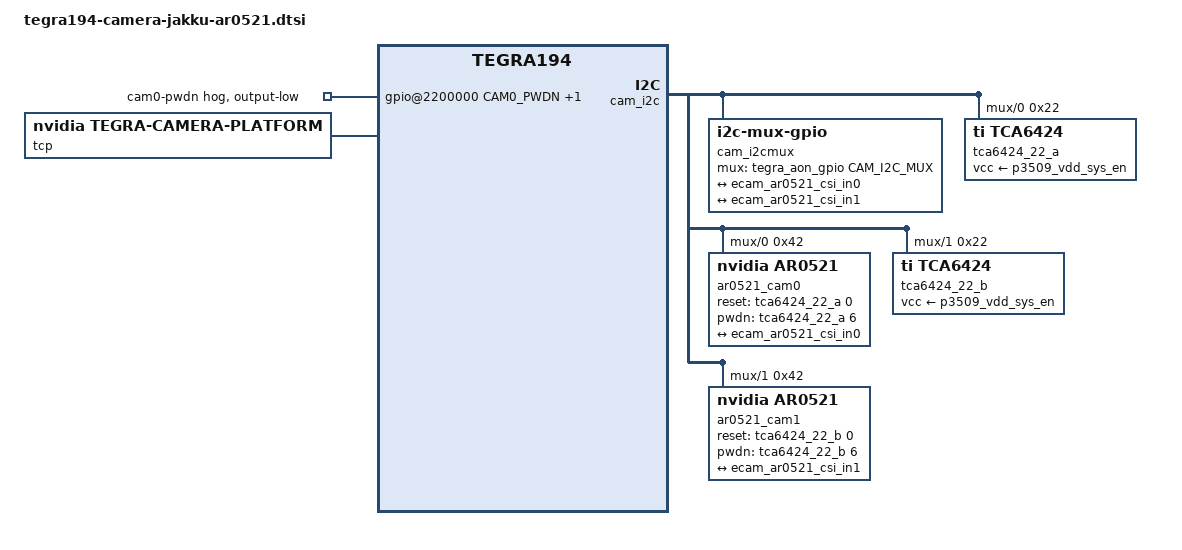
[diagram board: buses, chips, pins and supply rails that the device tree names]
/*
 * Copyright (c) 2018-2020, NVIDIA CORPORATION.  All rights reserved.
 *
 * This program is free software; you can redistribute it and/or modify
 * it under the terms of the GNU General Public License as published by
 * the Free Software Foundation; either version 2 of the License, or
 * (at your option) any later version.
 *
 * This program is distributed in the hope that it will be useful, but WITHOUT
 * ANY WARRANTY; without even the implied warranty of MERCHANTABILITY or
 * FITNESS FOR A PARTICULAR PURPOSE.  See the GNU General Public License for
 * more details.
 *
 * You should have received a copy of the GNU General Public License
 * along with this program.  If not, see <http://www.gnu.org/licenses/>.
 */

#include <dt-bindings/media/camera.h>

#define CAM0_PWDN	TEGRA194_MAIN_GPIO(P, 4)
#define CAM1_PWDN	TEGRA194_MAIN_GPIO(P, 5)
#define CAM_I2C_MUX 	TEGRA194_AON_GPIO(CC, 3)

/* Enable Six overlays in Jetson Xavier NX */
&head0 {
	win-mask = <0x3f>;
};

/ {
	cam_i2cmux{
		compatible = "i2c-mux-gpio";
		#address-cells = <1>;
		#size-cells = <0>;
		i2c-parent = <&cam_i2c>;
		mux-gpios = <&tegra_aon_gpio CAM_I2C_MUX GPIO_ACTIVE_HIGH>;
		i2c@0 {
			reg = <0>;
			#address-cells = <1>;
			#size-cells = <0>;
		tca6424_22_a: tca6424@22 {
			    compatible = "ti,tca6424";
			    gpio-controller;
			    #gpio-cells = <2>;
			    reg = <0x22>;
				vcc-supply = <&p3509_vdd_sys_en>;
			    status = "okay";
			    tca6424_22_outlow {
			    	/*
				 * GPIO-0 : RST_CAM1
				 * GPIO-1 : RST_CAM2
				 * GPIO-2 : RST_CAM3
				 * .... more is there
				 */
				 gpio-hog;
				 gpios = <0 0 1 0 2 0 3 0 4 0 5 0 6 0 7 0>;
				 output-low;
				 label = "tca6424_22_outlow_0",
				         "tca6424_22_outlow_1",
				         "tca6424_22_outlow_2",
				         "tca6424_22_outlow_3",
				         "tca6424_22_outlow_4",
				         "tca6424_22_outlow_5",
				         "tca6424_22_outlow_6",
				         "tca6424_22_outlow_7";
			    };
			    tca6424_22_outhigh {
			            status = "disabled";
			    };
			    tca6424_22_input {
			            status = "disabled";
			    };
			    
			};			
			ecam_ar0521_a@42 {
				reset-gpios = <&tca6424_22_a 0 GPIO_ACTIVE_HIGH>;
				pwdn-gpios  = <&tca6424_22_a 6 GPIO_ACTIVE_HIGH>;
			};					  
		};
		i2c@1 {
			reg = <1>;
			#address-cells = <1>;
			#size-cells = <0>;
			tca6424_22_b: tca6424@22 {
			    compatible = "ti,tca6424";
			    gpio-controller;
			    #gpio-cells = <2>;
			    reg = <0x22>;
				vcc-supply = <&p3509_vdd_sys_en>;
			    status = "okay";
			    tca6424_22_outlow {
			    	/*
				 * GPIO-0 : RST_CAM1
				 * GPIO-1 : RST_CAM2
				 * GPIO-2 : RST_CAM3
				 * .... more is there
				 */
				 gpio-hog;
				 gpios = <0 0 1 0 2 0 3 0 4 0 5 0 6 0 7 0>;
				 output-low;
				 label = "tca6424_22_outlow_0",
				         "tca6424_22_outlow_1",
				         "tca6424_22_outlow_2",
				         "tca6424_22_outlow_3",
				         "tca6424_22_outlow_4",
				         "tca6424_22_outlow_5",
				         "tca6424_22_outlow_6",
				         "tca6424_22_outlow_7";
			    };
			    tca6424_22_outhigh {
			            status = "disabled";
			    };
			    tca6424_22_input {
			            status = "disabled";
			    };
			    
			};
			ecam_ar0521_c@42 {
				reset-gpios = <&tca6424_22_b 0 GPIO_ACTIVE_HIGH>;
				pwdn-gpios  = <&tca6424_22_b 6 GPIO_ACTIVE_HIGH>;
			};			
		};
	};

	gpio@2200000 {
		camera-control-output-low {
			gpio-hog;
			output-low;
			gpios = <CAM0_PWDN 0 CAM1_PWDN 0>;
			label = "cam0-pwdn","cam1-pwdn";
		};
	};
};


/ {
	host1x {
		vi@15c10000  {
			num-channels = <2>;
			ports {
				#address-cells = <1>;
				#size-cells = <0>;
				vi_port0: port@0 {
					reg = <0>;
					ecam_ar0521_vi_in0: endpoint {
						port-index = <0>;
						bus-width = <2>;
						remote-endpoint = <&ecam_ar0521_csi_out0>;
					};
				};
				vi_port1: port@1 {
					reg = <1>;
					ecam_ar0521_vi_in1: endpoint {
						port-index = <2>;
						bus-width = <2>;
						remote-endpoint = <&ecam_ar0521_csi_out1>;
					};
				};
			};
		};

		nvcsi@15a00000 {
			num-channels = <2>;
			#address-cells = <1>;
			#size-cells = <0>;
			csi_chan0: channel@0 {
				reg = <0>;
				ports {
					#address-cells = <1>;
					#size-cells = <0>;
					csi_chan0_port0: port@0 {
						reg = <0>;
						ecam_ar0521_csi_in0: endpoint@0 {
							port-index = <0>;
							bus-width = <2>;
							remote-endpoint = <&ecam_ar0521_out0>;
						};
					};
					csi_chan0_port1: port@1 {
						reg = <1>;
						ecam_ar0521_csi_out0: endpoint@1 {
							remote-endpoint = <&ecam_ar0521_vi_in0>;
						};
					};
				};
			};
			csi_chan1: channel@1 {
				reg = <1>;
				ports {
					#address-cells = <1>;
					#size-cells = <0>;
					csi_chan1_port0: port@0 {
						reg = <0>;
						ecam_ar0521_csi_in1: endpoint@2 {
							port-index = <2>;
							bus-width = <2>;
							remote-endpoint = <&ecam_ar0521_out1>;
						};
					};
					csi_chan1_port1: port@1 {
						reg = <1>;
						ecam_ar0521_csi_out1: endpoint@3 {
							remote-endpoint = <&ecam_ar0521_vi_in1>;
						};
					};
				};
			};
		};
	};

	cam_i2cmux {
		i2c_0:i2c@0 {
			ar0521_cam0: ecam_ar0521_a@42 {
				compatible = "nvidia,ar0521";
				/* I2C device address */
				reg = <0x42>;

				/* V4L2 device node location */
				devnode = "video0";
				status = "okay";
				/* Physical dimensions of sensor */
				physical_w = "3.680";
				physical_h = "2.760";

				sensor_model = "ar0521";

				//Default use_sensor_mode_id is false
				/*use_sensor_mode_id = "false";*/
				camera_mipi_lanes = <2>;
				disable-framesync;

				/**
				* ==== Modes ====
				* A modeX node is required to support v4l2 driver
				* implementation with NVIDIA camera software stack
				*
				* == Signal properties ==
				*
				* phy_mode = "";
				* PHY mode used by the MIPI lanes for this device
				*
				* tegra_sinterface = "";
				* CSI Serial interface connected to tegra
				* Incase of virtual HW devices, use virtual
				* For SW emulated devices, use host
				*
				* pix_clk_hz = "";
				* Sensor pixel clock used for calculations like exposure and framerate
				*
				* readout_orientation = "0";
				* Based on camera module orientation.
				* Only change readout_orientation if you specifically
				* Program a different readout order for this mode
				*
				* == Image format Properties ==
				*
				* active_w = "";
				* Pixel active region width
				*
				* active_h = "";
				* Pixel active region height
				*
				* pixel_t = "";
				* The sensor readout pixel pattern
				*
				* line_length = "";
				* Pixel line length (width) for sensor mode.
				*
				* == Source Control Settings ==
				*
				* Gain factor used to convert fixed point integer to float
				* Gain range [min_gain/gain_factor, max_gain/gain_factor]
				* Gain step [step_gain/gain_factor is the smallest step that can be configured]
				* Default gain [Default gain to be initialized for the control.
				*     use min_gain_val as default for optimal results]
				* Framerate factor used to convert fixed point integer to float
				* Framerate range [min_framerate/framerate_factor, max_framerate/framerate_factor]
				* Framerate step [step_framerate/framerate_factor is the smallest step that can be configured]
				* Default Framerate [Default framerate to be initialized for the control.
				*     use max_framerate to get required performance]
				* Exposure factor used to convert fixed point integer to float
				* For convenience use 1 sec = 1000000us as conversion factor
				* Exposure range [min_exp_time/exposure_factor, max_exp_time/exposure_factor]
				* Exposure step [step_exp_time/exposure_factor is the smallest step that can be configured]
				* Default Exposure Time [Default exposure to be initialized for the control.
				*     Set default exposure based on the default_framerate for optimal exposure settings]
				*
				* gain_factor = ""; (integer factor used for floating to fixed point conversion)
				* min_gain_val = ""; (ceil to integer)
				* max_gain_val = ""; (ceil to integer)
				* step_gain_val = ""; (ceil to integer)
				* default_gain = ""; (ceil to integer)
				* Gain limits for mode
				*
				* exposure_factor = ""; (integer factor used for floating to fixed point conversion)
				* min_exp_time = ""; (ceil to integer)
				* max_exp_time = ""; (ceil to integer)
				* step_exp_time = ""; (ceil to integer)
				* default_exp_time = ""; (ceil to integer)
				* Exposure Time limits for mode (sec)
				*
				* framerate_factor = ""; (integer factor used for floating to fixed point conversion)
				* min_framerate = ""; (ceil to integer)
				* max_framerate = ""; (ceil to integer)
				* step_framerate = ""; (ceil to integer)
				* default_framerate = ""; (ceil to integer)
				* Framerate limits for mode (fps)
				*
				* embedded_metadata_height = "";
				* Sensor embedded metadata height in units of rows.
				* If sensor does not support embedded metadata value should be 0.
				*/
				mode0 { /* AR0521_MODE_640x480_75FPS */
					mclk_khz = "48000";
					num_lanes = "2";
					tegra_sinterface = "serial_a";
					phy_mode = "DPHY";
					discontinuous_clk = "yes";
					dpcm_enable = "false";
					cil_settletime = "0";
					dynamic_pixel_bit_depth = "16";
					csi_pixel_bit_depth = "16";
					mode_type = "yuv";
					
					active_w = "640";
					active_h = "480";
					/* pixel_t = "uyvy";*/
					pixel_phase = "uyvy";
					readout_orientation = "0";
					line_length = "2000";
					inherent_gain = "1";
					mclk_multiplier = "18";
					pix_clk_hz = "1200000000";

					min_gain_val = "0";
					max_gain_val = "48"; /* 10.66x */
					step_gain_val = "1";
					default_gain = "16"; /* 1.00x */
					min_hdr_ratio = "1";
					max_hdr_ratio = "1";
					min_framerate = "1"; /* 2.0 fps */
					max_framerate = "75"; /* 21.0 fps */
					step_framerate = "1";
					default_framerate = "21000000"; /* 21.0 fps */
					min_exp_time = "1"; /* us */
					max_exp_time = "43000000"; /* us */

					embedded_metadata_height = "0";
				};
				mode1 { /* AR0521_MODE_1280x720_100FPS */
					mclk_khz = "48000";
					num_lanes = "2";
					tegra_sinterface = "serial_a";
					phy_mode = "DPHY";
					discontinuous_clk = "yes";
					dpcm_enable = "false";
					cil_settletime = "0";
					dynamic_pixel_bit_depth = "16";					    
					csi_pixel_bit_depth = "16";
					active_w = "1280";
					active_h = "720";
					pixel_phase = "uyvy";
					mode_type = "yuv";
					/*pixel_t = "bayer_rggb";*/
					readout_orientation = "0";
					line_length = "2000";
					inherent_gain = "1";
					mclk_multiplier = "18";
					pix_clk_hz = "1200000000";

					min_gain_val = "0"; /* 1.00x */
					max_gain_val = "48"; /* 10.66x */
					min_hdr_ratio = "1";
					max_hdr_ratio = "1";
					min_framerate = "1"; /* 2.0 fps */
					max_framerate = "100"; /* 28.0 fps */
					min_exp_time = "1"; /* us */
					max_exp_time = "430000"; /* us */

					embedded_metadata_height = "0";
				};
				mode2 { /* AR0521_MODE_1280x960_75FPS */
					mclk_khz = "48000";
					num_lanes = "2";
					tegra_sinterface = "serial_a";
					phy_mode = "DPHY";
					discontinuous_clk = "yes";
					dpcm_enable = "false";
					cil_settletime = "0";
					csi_pixel_bit_depth = "16";
					active_w = "1280";
					active_h = "960";
					/*pixel_t = "uyvy";*/
					pixel_phase = "uyvy";
					mode_type = "yuv";
					readout_orientation = "0";
					line_length = "2000";
					inherent_gain = "1";
					mclk_multiplier = "18";
					pix_clk_hz = "1200000000";

					min_gain_val = "0"; /* 1.00x */
					max_gain_val = "48"; /* 10.66x */
					min_hdr_ratio = "1";
					max_hdr_ratio = "1";
					min_framerate = "1"; /* 2.0 fps */
					max_framerate = "75"; /* 75.0 fps */
					default_framerate = "30000000"; /* 30.0 fps */
					min_exp_time = "13"; /* us */
					max_exp_time = "683709"; /* us */
					step_exp_time = "1";
					embedded_metadata_height = "0";
				};
				mode3 { /* AR0521_MODE_1920x1080_67FPS */
					mclk_khz = "48000";
					num_lanes = "2";
					tegra_sinterface = "serial_a";
					phy_mode = "DPHY";
					discontinuous_clk = "yes";
					dpcm_enable = "false";
					cil_settletime = "0";
					dynamic_pixel_bit_depth = "16";
					csi_pixel_bit_depth = "16";
					active_w = "1920";
					active_h = "1080";
					/* pixel_t = "uyvy";*/
					pixel_phase = "uyvy";
					mode_type = "yuv";
					readout_orientation = "0";
					line_length = "2000";
					inherent_gain = "1";
					mclk_multiplier = "18";
					pix_clk_hz = "1200000000";

					min_gain_val = "0";  /*dB*/
					max_gain_val = "48"; /*dB*/
					min_hdr_ratio = "1";
					max_hdr_ratio = "1";
					min_framerate = "1"; /* 1 fps */
					max_framerate = "67"; /* 67.0 fps */

					min_exp_time = "1";
					max_exp_time = "430000";

					embedded_metadata_height = "0";
				};
				mode4 { /* Ar0521_MODE_2560x1440_38FPS */
					mclk_khz = "48000";
					num_lanes = "2";
					tegra_sinterface = "serial_a";
					phy_mode = "DPHY";
					discontinuous_clk = "yes";
					dpcm_enable = "false";
					cil_settletime = "0";
					dynamic_pixel_bit_depth = "16";
					csi_pixel_bit_depth = "16";
					active_w = "2560";
					active_h = "1440";
					/* pixel_t = "uyvy"; */
					mode_type = "yuv";
					pixel_phase = "uyvy";
					readout_orientation = "0";
					line_length = "2000";
					inherent_gain = "1";
					mclk_multiplier = "18";
					pix_clk_hz = "1200000000";

					min_gain_val = "0";
					max_gain_val = "48"; /*dB*/
					min_hdr_ratio = "1";
					max_hdr_ratio = "1";
					min_framerate = "1"; /* 1 fps */
					max_framerate = "38"; /* 38fps */
					min_exp_time = "1"; /* us */
					max_exp_time = "430000"; /* us */
					embedded_metadata_height = "0";
				};
				mode5 { /* Ar0521_MODE_2592x1944_28FPS */
					mclk_khz = "48000";
					num_lanes = "2";
					tegra_sinterface = "serial_a";
					phy_mode = "DPHY";
					discontinuous_clk = "yes";
					dpcm_enable = "false";
					cil_settletime = "0";
					dynamic_pixel_bit_depth = "16";
					csi_pixel_bit_depth = "16";
					active_w = "2592";
					active_h = "1944";
					/* pixel_t = "uyvy"; */
					mode_type = "yuv";
					pixel_phase = "uyvy";
					readout_orientation = "0";
					line_length = "2000";
					inherent_gain = "1";
					mclk_multiplier = "18";
					pix_clk_hz = "1200000000";

					min_gain_val = "0";
					max_gain_val = "48"; /*dB*/
					min_hdr_ratio = "1";
					max_hdr_ratio = "1";
					min_framerate = "1"; /* 1 fps */
					max_framerate = "28"; /* 38fps */
					min_exp_time = "1"; /* us */
					max_exp_time = "430000"; /* us */
					embedded_metadata_height = "0";
				};


				ports {
					#address-cells = <1>;
					#size-cells = <0>;
					port@0 {
						reg = <0>;
						ecam_ar0521_out0: endpoint {
							port-index = <0>;
							bus-width = <2>;
							remote-endpoint = <&ecam_ar0521_csi_in0>;
						};
					};
				};
			};
		};
		i2c_1: i2c@1 {
			ar0521_cam1: ecam_ar0521_c@42 {
				compatible = "nvidia,ar0521";
				/* I2C device address */
				reg = <0x42>;

				/* V4L2 device node location */
				devnode = "video1";
				status = "okay";
				/* Physical dimensions of sensor */
				physical_w = "3.680";
				physical_h = "2.760";

				sensor_model = "ar0521";
				camera_mipi_lanes = <2>;
				disable-framesync;
				// Default use_sensor_mode_id is false
				/*use_sensor_mode_id = "false";*/

				/**
				* ==== Modes ====
				* A modeX node is required to support v4l2 driver
				* implementation with NVIDIA camera software stack
				*
				* == Signal properties ==
				*
				* phy_mode = "";
				* PHY mode used by the MIPI lanes for this device
				*
				* tegra_sinterface = "";
				* CSI Serial interface connected to tegra
				* Incase of virtual HW devices, use virtual
				* For SW emulated devices, use host
				*
				* pix_clk_hz = "";
				* Sensor pixel clock used for calculations like exposure and framerate
				*
				* readout_orientation = "0";
				* Based on camera module orientation.
				* Only change readout_orientation if you specifically
				* Program a different readout order for this mode
				*
				* == Image format Properties ==
				*
				* active_w = "";
				* Pixel active region width
				*
				* active_h = "";
				* Pixel active region height
				*
				* pixel_t = "";
				* The sensor readout pixel pattern
				*
				* line_length = "";
				* Pixel line length (width) for sensor mode.
				*
				* == Source Control Settings ==
				*
				* Gain factor used to convert fixed point integer to float
				* Gain range [min_gain/gain_factor, max_gain/gain_factor]
				* Gain step [step_gain/gain_factor is the smallest step that can be configured]
				* Default gain [Default gain to be initialized for the control.
				*     use min_gain_val as default for optimal results]
				* Framerate factor used to convert fixed point integer to float
				* Framerate range [min_framerate/framerate_factor, max_framerate/framerate_factor]
				* Framerate step [step_framerate/framerate_factor is the smallest step that can be configured]
				* Default Framerate [Default framerate to be initialized for the control.
				*     use max_framerate to get required performance]
				* Exposure factor used to convert fixed point integer to float
				* For convenience use 1 sec = 1000000us as conversion factor
				* Exposure range [min_exp_time/exposure_factor, max_exp_time/exposure_factor]
				* Exposure step [step_exp_time/exposure_factor is the smallest step that can be configured]
				* Default Exposure Time [Default exposure to be initialized for the control.
				*     Set default exposure based on the default_framerate for optimal exposure settings]
				*
				* gain_factor = ""; (integer factor used for floating to fixed point conversion)
				* min_gain_val = ""; (ceil to integer)
				* max_gain_val = ""; (ceil to integer)
				* step_gain_val = ""; (ceil to integer)
				* default_gain = ""; (ceil to integer)
				* Gain limits for mode
				*
				* exposure_factor = ""; (integer factor used for floating to fixed point conversion)
				* min_exp_time = ""; (ceil to integer)
				* max_exp_time = ""; (ceil to integer)
				* step_exp_time = ""; (ceil to integer)
				* default_exp_time = ""; (ceil to integer)
				* Exposure Time limits for mode (sec)
				*
				* framerate_factor = ""; (integer factor used for floating to fixed point conversion)
				* min_framerate = ""; (ceil to integer)
				* max_framerate = ""; (ceil to integer)
				* step_framerate = ""; (ceil to integer)
				* default_framerate = ""; (ceil to integer)
				* Framerate limits for mode (fps)
				*
				* embedded_metadata_height = "";
				* Sensor embedded metadata height in units of rows.
				* If sensor does not support embedded metadata value should be 0.
				*/
				mode0 { /* AR0521_MODE_640x480_75FPS */
					mclk_khz = "48000";
					num_lanes = "2";
					tegra_sinterface = "serial_c";
					phy_mode = "DPHY";
					discontinuous_clk = "yes";
					dpcm_enable = "false";
					cil_settletime = "0";
					dynamic_pixel_bit_depth = "16";
					csi_pixel_bit_depth = "16";
					mode_type = "yuv";
					
					active_w = "640";
					active_h = "480";
					/* pixel_t = "uyvy";*/
					pixel_phase = "uyvy";
					readout_orientation = "0";
					line_length = "2000";
					inherent_gain = "1";
					mclk_multiplier = "18";
					pix_clk_hz = "1200000000";

					min_gain_val = "0";
					max_gain_val = "48"; /* 10.66x */
					step_gain_val = "1";
					default_gain = "16"; /* 1.00x */
					min_hdr_ratio = "1";
					max_hdr_ratio = "1";
					min_framerate = "1"; /* 2.0 fps */
					max_framerate = "75"; /* 21.0 fps */
					step_framerate = "1";
					default_framerate = "21000000"; /* 21.0 fps */
					min_exp_time = "1"; /* us */
					max_exp_time = "43000000"; /* us */

					embedded_metadata_height = "0";
				};
				mode1 { /* AR0521_MODE_1280x720_100FPS */
					mclk_khz = "48000";
					num_lanes = "2";
					tegra_sinterface = "serial_c";
					phy_mode = "DPHY";
					discontinuous_clk = "yes";
					dpcm_enable = "false";
					cil_settletime = "0";
					dynamic_pixel_bit_depth = "16";					    
					csi_pixel_bit_depth = "16";
					active_w = "1280";
					active_h = "720";
					pixel_phase = "uyvy";
					mode_type = "yuv";
					/*pixel_t = "bayer_rggb";*/
					readout_orientation = "0";
					line_length = "2000";
					inherent_gain = "1";
					mclk_multiplier = "18";
					pix_clk_hz = "1200000000";

					min_gain_val = "0"; /* 1.00x */
					max_gain_val = "48"; /* 10.66x */
					min_hdr_ratio = "1";
					max_hdr_ratio = "1";
					min_framerate = "1"; /* 2.0 fps */
					max_framerate = "100"; /* 28.0 fps */
					min_exp_time = "1"; /* us */
					max_exp_time = "430000"; /* us */

					embedded_metadata_height = "0";
				};
				mode2 { /* AR0521_MODE_1280x960_75FPS */
					mclk_khz = "48000";
					num_lanes = "2";
					tegra_sinterface = "serial_c";
					phy_mode = "DPHY";
					discontinuous_clk = "yes";
					dpcm_enable = "false";
					cil_settletime = "0";
					csi_pixel_bit_depth = "16";
					active_w = "1280";
					active_h = "960";
					/*pixel_t = "uyvy";*/
					pixel_phase = "uyvy";
					mode_type = "yuv";
					readout_orientation = "0";
					line_length = "2000";
					inherent_gain = "1";
					mclk_multiplier = "18";
					pix_clk_hz = "1200000000";

					min_gain_val = "0"; /* 1.00x */
					max_gain_val = "48"; /* 10.66x */
					min_hdr_ratio = "1";
					max_hdr_ratio = "1";
					min_framerate = "1"; /* 2.0 fps */
					max_framerate = "75"; /* 75.0 fps */
					default_framerate = "30000000"; /* 30.0 fps */
					min_exp_time = "13"; /* us */
					max_exp_time = "683709"; /* us */
					step_exp_time = "1";
					embedded_metadata_height = "0";
				};
				mode3 { /* AR0521_MODE_1920x1080_67FPS */
					mclk_khz = "48000";
					num_lanes = "2";
					tegra_sinterface = "serial_c";
					phy_mode = "DPHY";
					discontinuous_clk = "yes";
					dpcm_enable = "false";
					cil_settletime = "0";
					dynamic_pixel_bit_depth = "16";
					csi_pixel_bit_depth = "16";
					active_w = "1920";
					active_h = "1080";
					/* pixel_t = "uyvy";*/
					pixel_phase = "uyvy";
					mode_type = "yuv";
					readout_orientation = "0";
					line_length = "2000";
					inherent_gain = "1";
					mclk_multiplier = "18";
					pix_clk_hz = "1200000000";

					min_gain_val = "0";  /*dB*/
					max_gain_val = "48"; /*dB*/
					min_hdr_ratio = "1";
					max_hdr_ratio = "1";
					min_framerate = "1"; /* 1 fps */
					max_framerate = "67"; /* 67.0 fps */

					min_exp_time = "1";
					max_exp_time = "430000";

					embedded_metadata_height = "0";
				};
				mode4 { /* Ar0521_MODE_2560x1440_38FPS */
					mclk_khz = "48000";
					num_lanes = "2";
					tegra_sinterface = "serial_c";
					phy_mode = "DPHY";
					discontinuous_clk = "yes";
					dpcm_enable = "false";
					cil_settletime = "0";
					dynamic_pixel_bit_depth = "16";					    
					csi_pixel_bit_depth = "16";
					active_w = "2560";
					active_h = "1440";
					/* pixel_t = "uyvy"; */
					mode_type = "yuv";
					pixel_phase = "uyvy";
					readout_orientation = "0";
					line_length = "2000";
					inherent_gain = "1";
					mclk_multiplier = "18";
					pix_clk_hz = "1200000000";

					min_gain_val = "0";
					max_gain_val = "48"; /*dB*/
					min_hdr_ratio = "1";
					max_hdr_ratio = "1";
					min_framerate = "1"; /* 1 fps */
					max_framerate = "38"; /* 38fps */
					min_exp_time = "1"; /* us */
					max_exp_time = "430000"; /* us */
					embedded_metadata_height = "0";
				};
				mode5 { /* Ar0521_MODE_2592x1944_28FPS */
					mclk_khz = "48000";
					num_lanes = "2";
					tegra_sinterface = "serial_c";
					phy_mode = "DPHY";
					discontinuous_clk = "yes";
					dpcm_enable = "false";
					cil_settletime = "0";
					dynamic_pixel_bit_depth = "16";	
					csi_pixel_bit_depth = "16";
					active_w = "2592";
					active_h = "1944";
					/* pixel_t = "uyvy"; */
					mode_type = "yuv";
					pixel_phase = "uyvy";
					readout_orientation = "0";
					line_length = "2000";
					inherent_gain = "1";
					mclk_multiplier = "18";
					pix_clk_hz = "1200000000";

					min_gain_val = "0";
					max_gain_val = "48"; /*dB*/
					min_hdr_ratio = "1";
					max_hdr_ratio = "1";
					min_framerate = "1"; /* 1 fps */
					max_framerate = "28"; /* 38fps */
					min_exp_time = "1"; /* us */
					max_exp_time = "430000"; /* us */
					embedded_metadata_height = "0";
				};


				ports {
					#address-cells = <1>;
					#size-cells = <0>;
					port@0 {
						reg = <0>;
						ecam_ar0521_out1: endpoint {
							status = "okay";
							port-index = <2>;
							bus-width = <2>;
							remote-endpoint = <&ecam_ar0521_csi_in1>;
						};
					};
				};
			};
		};
	};

};
/ {
	tcp: tegra-camera-platform {
		compatible = "nvidia, tegra-camera-platform";
		/**
		* Physical settings to calculate max ISO BW
		*
		* num_csi_lanes = <>;
		* Total number of CSI lanes when all cameras are active
		*
		* max_lane_speed = <>;
		* Max lane speed in Kbit/s
		*
		* min_bits_per_pixel = <>;
		* Min bits per pixel
		*
		* vi_peak_byte_per_pixel = <>;
		* Max byte per pixel for the VI ISO case
		*
		* vi_bw_margin_pct = <>;
		* Vi bandwidth margin in percentage
		*
		* max_pixel_rate = <>;
		* Max pixel rate in Kpixel/s for the ISP ISO case
		*
		* isp_peak_byte_per_pixel = <>;
		* Max byte per pixel for the ISP ISO case
		*
		* isp_bw_margin_pct = <>;
		* Isp bandwidth margin in percentage
		*/
		num_csi_lanes = <16>;
		max_lane_speed = <2500000>;
		min_bits_per_pixel = <16>;
		vi_peak_byte_per_pixel = <2>;
		vi_bw_margin_pct = <67>;


		/**
		 * The general guideline for naming badge_info contains 3 parts, and is as follows,
		 * The first part is the camera_board_id for the module; if the module is in a FFD
		 * platform, then use the platform name for this part.
		 * The second part contains the position of the module, ex. "rear" or "front".
		 * The third part contains the last 6 characters of a part number which is found
		 * in the module's specsheet from the vendor.
		 */
		modules {
			cam_module0: module0 {
				badge = "porg_front_ar0521";
				position = "front";
				orientation = "1";
				cam_module0_drivernode0: drivernode0 {
					pcl_id = "v4l2_sensor";
					devname = "ar0521 9-0010";
					proc-device-tree = "/proc/device-tree/cam_i2cmux/i2c@0/ecam_ar0521_a@42";
				};
			};
			cam_module1: module1 {
				badge = "porg_rear_ar0521";
				position = "rear";
				orientation = "1";
				cam_module1_drivernode0: drivernode0 {
					pcl_id = "v4l2_sensor";
					devname = "ar0521 10-0010";
					proc-device-tree = "/proc/device-tree/cam_i2cmux/i2c@1/ecam_ar0521_c@42";
				};
			};
		};
	};
};
